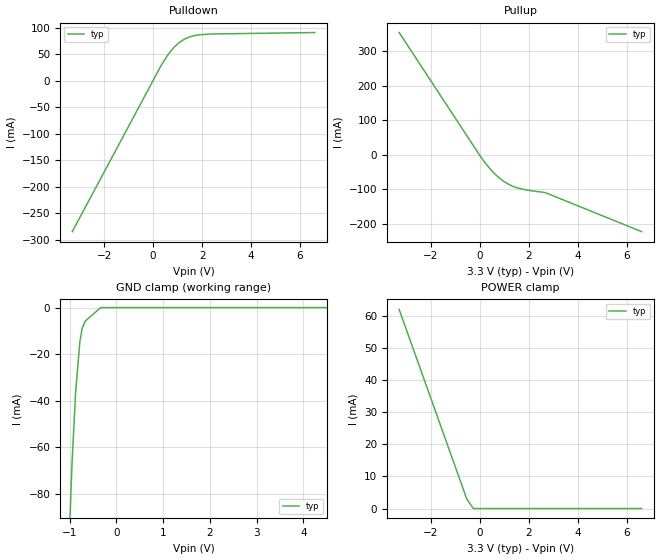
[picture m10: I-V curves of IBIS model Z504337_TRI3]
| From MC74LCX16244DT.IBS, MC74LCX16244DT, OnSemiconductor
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| (C) COPYRIGHT 1993-2000
| MENTOR GRAPHICS CORPORATION
| ICX STANDARD LIBRARY, ICX PROJECT MODELING,
| ICX CUSTOM MODELING, ICX VENDOR MODEL
| ALL RIGHTS RESERVED.
| THE FOLLOWING ARE TRADEMARKS OR SERVICE MARKS OF
| MENTOR GRAPHICS CORPORATION:ICX (R), ICX STANDARD
| LIBRARY(R), ICX PROJECT MODELING(R), ICX CUSTOM
| MODELING(R), qualityIBIS(TM), MODELVIEWER(TM),
| AND MODELEDITOR(TM)
| ALL COPIES OF SOFTWARE, INCLUDING BUT NOT LIMITED TO
| ANY MODIFICATIONS, ENHANCEMENTS OR DERIVATIVE WORKS,
| MUST CONTAIN ALL MENTOR GRAPHICS CORPORATION'S
| NOTICES AND LEGENDS, INCLUDING THOSE EMBEDDED IN
| SOFTWARE AND THOSE AFFIXED TO SOFTWARE MEDIUM
| AND CONTAINER, AS RECEIVED FROM MENTOR GRAPHICS
| CORPORATION.
| Model Application Version 1.89 2/18/99.
[Model] Z504337_TRI3
Model_type 3-state
Vref=0.000V
Rref=500.0ohms
Cref=50.00pF
Vmeas=1.500V
C_comp 8.000pF NA NA
| variable typ   min   max
[Voltage Range] 3.300V NA NA
[POWER Clamp Reference] 3.300V NA NA
[Pullup Reference] 3.300V NA NA
[Pulldown Reference] 0.000V NA NA
[GND Clamp Reference] 0.000V NA NA
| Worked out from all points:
|   slope of the pulldown table from 0 to 0.495 V, typ, clamps not added: 12.2 ohm
|   slope of the pullup table from 0 to 0.495 V, typ, clamps not added: 11.2 ohm
[GND Clamp]
-3.3V     -1.333A    NA         NA
-946.5mV  -66.96mA   NA         NA
-869.1mV  -36.34mA   NA         NA
-779.2mV  -14.71mA   NA         NA
-732mV    -9.069mA   NA         NA
-663.8mV  -5.798mA   NA         NA
-331.9mV  0A         NA         NA
6.6V      0A         NA         NA
[Pulldown]
-3.3V     -284.8mA   NA         NA
337.4mV   29.33mA    NA         NA
708.7mV   54.88mA    NA         NA
1.065V    71.62mA    NA         NA
1.475V    82.07mA    NA         NA
2.129V    87.31mA    NA         NA
6.6V      90.64mA    NA         NA
[Pullup]
-3.3V     354mA      NA         NA
14mV      -4.445mA   NA         NA
394mV     -39.5mA    NA         NA
781mV     -67.1mA    NA         NA
990mV     -78.2mA    NA         NA
1.337V    -91.47mA   NA         NA
1.867V    -101.9mA   NA         NA
2.659V    -109.7mA   NA         NA
6.6V      -223mA     NA         NA
[POWER Clamp]
-3.3V     61.91mA    NA         NA
-538mV    2.945mA    NA         NA
-269mV    0A         NA         NA
6.6V      0A         NA         NA
[Ramp]
| variable typ min max
dV/dt_r 1.960/284.5p NA NA
dV/dt_f 1.960/484.4p NA NA
R_load = 500.0Ohms
